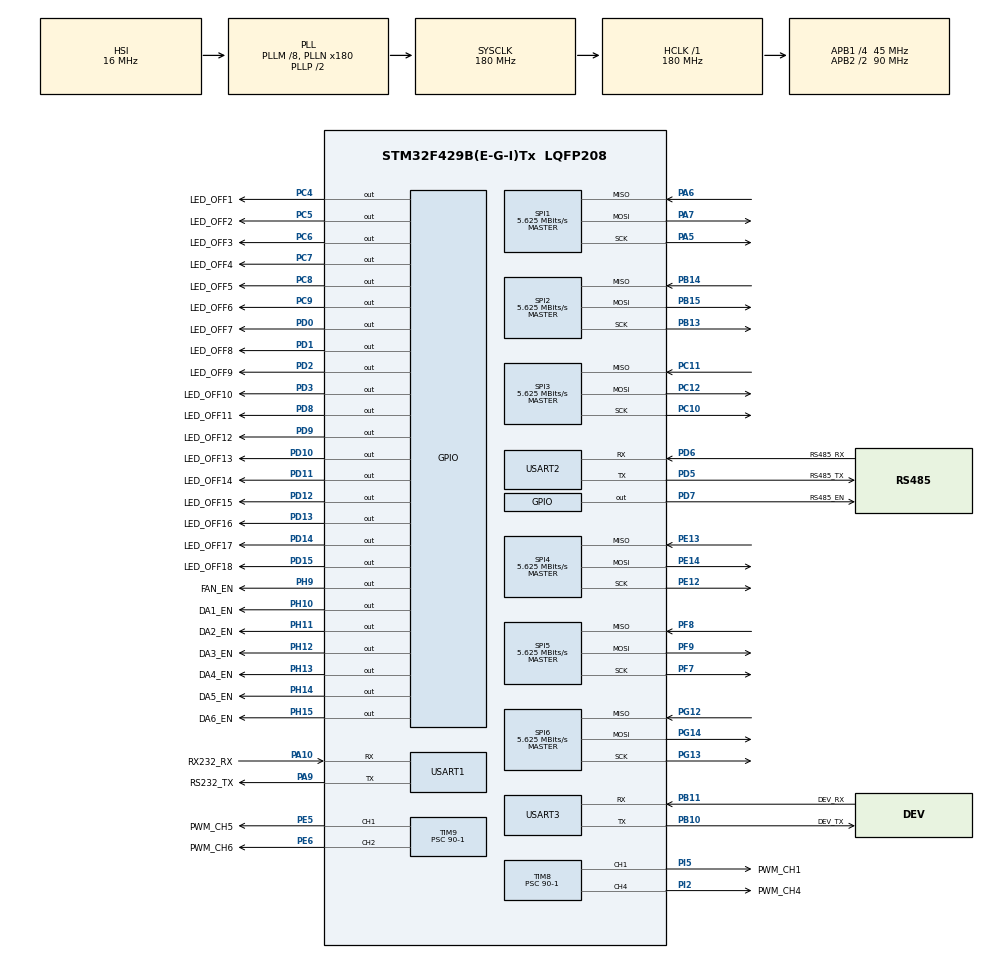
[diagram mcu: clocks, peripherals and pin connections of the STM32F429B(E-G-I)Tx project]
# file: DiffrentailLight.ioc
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Dma.Request0=USART1_RX
Dma.Request1=USART3_RX
Dma.Request2=USART2_RX
Dma.USART1_RX.0.Direction=DMA_PERIPH_TO_MEMORY
Dma.USART1_RX.0.FIFOMode=DMA_FIFOMODE_DISABLE
Dma.USART1_RX.0.Instance=DMA2_Stream2
Dma.USART1_RX.0.MemDataAlignment=DMA_MDATAALIGN_BYTE
Dma.USART1_RX.0.MemInc=DMA_MINC_ENABLE
Dma.USART1_RX.0.Mode=DMA_NORMAL
Dma.USART1_RX.0.PeriphDataAlignment=DMA_PDATAALIGN_BYTE
Dma.USART1_RX.0.PeriphInc=DMA_PINC_DISABLE
Dma.USART1_RX.0.Priority=DMA_PRIORITY_MEDIUM
Dma.USART2_RX.2.Direction=DMA_PERIPH_TO_MEMORY
Dma.USART2_RX.2.FIFOMode=DMA_FIFOMODE_DISABLE
Dma.USART2_RX.2.Instance=DMA1_Stream5
Dma.USART2_RX.2.MemDataAlignment=DMA_MDATAALIGN_BYTE
Dma.USART2_RX.2.MemInc=DMA_MINC_ENABLE
Dma.USART2_RX.2.Mode=DMA_NORMAL
Dma.USART2_RX.2.PeriphDataAlignment=DMA_PDATAALIGN_BYTE
Dma.USART2_RX.2.PeriphInc=DMA_PINC_DISABLE
Dma.USART2_RX.2.Priority=DMA_PRIORITY_LOW
Dma.USART3_RX.1.Direction=DMA_PERIPH_TO_MEMORY
Dma.USART3_RX.1.FIFOMode=DMA_FIFOMODE_DISABLE
Dma.USART3_RX.1.Instance=DMA1_Stream1
Dma.USART3_RX.1.MemDataAlignment=DMA_MDATAALIGN_BYTE
Dma.USART3_RX.1.MemInc=DMA_MINC_ENABLE
Dma.USART3_RX.1.Mode=DMA_NORMAL
Dma.USART3_RX.1.PeriphDataAlignment=DMA_PDATAALIGN_BYTE
Dma.USART3_RX.1.PeriphInc=DMA_PINC_DISABLE
Dma.USART3_RX.1.Priority=DMA_PRIORITY_MEDIUM
FREERTOS.HEAP_NUMBER=4
FREERTOS.Tasks01=defaultTask,0,512,StartDefaultTask,Default,NULL,Dynamic,NULL,NULL
FREERTOS.configUSE_NEWLIB_REENTRANT=1
FREERTOS.configUSE_PREEMPTION=1
Mcu.Family=STM32F4
Mcu.Name=STM32F429B(E-G-I)Tx
Mcu.Package=LQFP208
NVIC.DMA1_Stream1_IRQn=true\:5\:0\:false\:false\:true\:true\:false\:true
NVIC.DMA1_Stream5_IRQn=true\:5\:0\:false\:false\:true\:true\:false\:true
NVIC.DMA2_Stream2_IRQn=true\:5\:0\:true\:false\:true\:true\:false\:true
NVIC.PriorityGroup=NVIC_PRIORITYGROUP_4
NVIC.TIM1_UP_TIM10_IRQn=true\:15\:0\:false\:false\:true\:false\:false\:true
NVIC.TimeBase=TIM1_UP_TIM10_IRQn
NVIC.TimeBaseIP=TIM1
NVIC.USART1_IRQn=true\:5\:0\:true\:false\:true\:true\:true\:true
NVIC.USART2_IRQn=true\:5\:0\:false\:false\:true\:true\:true\:true
NVIC.USART3_IRQn=true\:5\:0\:false\:false\:true\:true\:true\:true
PA10.GPIO_Label=RX232_RX
PA10.GPIO_PuPd=GPIO_PULLUP
PA10.Mode=Asynchronous
PA10.Signal=USART1_RX
PA13.Mode=JTAG_5_pins
PA13.Signal=SYS_JTMS-SWDIO
PA14.Mode=JTAG_5_pins
PA14.Signal=SYS_JTCK-SWCLK
PA15.Mode=JTAG_5_pins
PA15.Signal=SYS_JTDI
PA5.Mode=Full_Duplex_Master
PA5.Signal=SPI1_SCK
PA6.Mode=Full_Duplex_Master
PA6.Signal=SPI1_MISO
PA7.Mode=Full_Duplex_Master
PA7.Signal=SPI1_MOSI
PA9.GPIO_Label=RS232_TX
PA9.GPIO_PuPd=GPIO_PULLUP
PA9.Mode=Asynchronous
PA9.Signal=USART1_TX
PB10.GPIO_Label=DEV_TX
PB10.GPIO_PuPd=GPIO_PULLUP
PB10.Mode=Asynchronous
PB10.Signal=USART3_TX
PB11.GPIO_Label=DEV_RX
PB11.GPIO_PuPd=GPIO_PULLUP
PB11.Mode=Asynchronous
PB11.Signal=USART3_RX
PB13.Mode=Full_Duplex_Master
PB13.Signal=SPI2_SCK
PB14.Mode=Full_Duplex_Master
PB14.Signal=SPI2_MISO
PB15.Mode=Full_Duplex_Master
PB15.Signal=SPI2_MOSI
PB3.Mode=JTAG_5_pins
PB3.Signal=SYS_JTDO-SWO
PB4.Mode=JTAG_5_pins
PB4.Signal=SYS_JTRST
PC10.Mode=Full_Duplex_Master
PC10.Signal=SPI3_SCK
PC11.Mode=Full_Duplex_Master
PC11.Signal=SPI3_MISO
PC12.Mode=Full_Duplex_Master
PC12.Signal=SPI3_MOSI
PC4.GPIO_Label=LED_OFF1
PC4.GPIO_PuPd=GPIO_PULLDOWN
PC4.Signal=GPIO_Output
PC5.GPIO_Label=LED_OFF2
PC5.GPIO_PuPd=GPIO_PULLDOWN
PC5.Signal=GPIO_Output
PC6.GPIO_Label=LED_OFF3
PC6.GPIO_PuPd=GPIO_PULLDOWN
PC6.Signal=GPIO_Output
PC7.GPIO_Label=LED_OFF4
PC7.GPIO_PuPd=GPIO_PULLDOWN
PC7.Signal=GPIO_Output
PC8.GPIO_Label=LED_OFF5
PC8.GPIO_PuPd=GPIO_PULLDOWN
PC8.Signal=GPIO_Output
PC9.GPIO_Label=LED_OFF6
PC9.GPIO_PuPd=GPIO_PULLDOWN
PC9.Signal=GPIO_Output
PD0.GPIO_Label=LED_OFF7
PD0.GPIO_PuPd=GPIO_PULLDOWN
PD0.Signal=GPIO_Output
PD1.GPIO_Label=LED_OFF8
PD1.GPIO_PuPd=GPIO_PULLDOWN
PD1.Signal=GPIO_Output
PD10.GPIO_Label=LED_OFF13
PD10.GPIO_PuPd=GPIO_PULLDOWN
PD10.Signal=GPIO_Output
PD11.GPIO_Label=LED_OFF14
PD11.GPIO_PuPd=GPIO_PULLDOWN
PD11.Signal=GPIO_Output
PD12.GPIO_Label=LED_OFF15
PD12.GPIO_PuPd=GPIO_PULLDOWN
PD12.Signal=GPIO_Output
PD13.GPIO_Label=LED_OFF16
PD13.GPIO_PuPd=GPIO_PULLDOWN
PD13.Signal=GPIO_Output
PD14.GPIO_Label=LED_OFF17
PD14.GPIO_PuPd=GPIO_PULLDOWN
PD14.Signal=GPIO_Output
PD15.GPIO_Label=LED_OFF18
PD15.GPIO_PuPd=GPIO_PULLDOWN
PD15.Signal=GPIO_Output
PD2.GPIO_Label=LED_OFF9
PD2.GPIO_PuPd=GPIO_PULLDOWN
PD2.Signal=GPIO_Output
PD3.GPIO_Label=LED_OFF10
PD3.GPIO_PuPd=GPIO_PULLDOWN
PD3.Signal=GPIO_Output
PD5.GPIO_Label=RS485_TX
PD5.GPIO_PuPd=GPIO_PULLUP
PD5.Mode=Asynchronous
PD5.Signal=USART2_TX
PD6.GPIO_Label=RS485_RX
PD6.GPIO_PuPd=GPIO_PULLUP
PD6.Mode=Asynchronous
PD6.Signal=USART2_RX
PD7.GPIO_Label=RS485_EN
PD7.GPIO_PuPd=GPIO_PULLDOWN
PD7.Signal=GPIO_Output
PD8.GPIO_Label=LED_OFF11
PD8.GPIO_PuPd=GPIO_PULLDOWN
PD8.Signal=GPIO_Output
PD9.GPIO_Label=LED_OFF12
PD9.GPIO_PuPd=GPIO_PULLDOWN
PD9.Signal=GPIO_Output
PE12.Mode=Full_Duplex_Master
PE12.Signal=SPI4_SCK
PE13.Mode=Full_Duplex_Master
PE13.Signal=SPI4_MISO
PE14.Mode=Full_Duplex_Master
PE14.Signal=SPI4_MOSI
PE5.GPIO_Label=PWM_CH5
PE5.GPIO_Speed=GPIO_SPEED_FREQ_VERY_HIGH
PE5.Signal=S_TIM9_CH1
PE6.GPIO_Label=PWM_CH6
PE6.GPIO_Speed=GPIO_SPEED_FREQ_VERY_HIGH
PE6.Signal=S_TIM9_CH2
PF7.Mode=Full_Duplex_Master
PF7.Signal=SPI5_SCK
PF8.Mode=Full_Duplex_Master
PF8.Signal=SPI5_MISO
PF9.Mode=Full_Duplex_Master
PF9.Signal=SPI5_MOSI
PG12.Mode=Full_Duplex_Master
PG12.Signal=SPI6_MISO
PG13.Mode=Full_Duplex_Master
PG13.Signal=SPI6_SCK
PG14.Mode=Full_Duplex_Master
PG14.Signal=SPI6_MOSI
PH10.GPIO_Label=DA1_EN
PH10.GPIO_PuPd=GPIO_PULLDOWN
PH10.Signal=GPIO_Output
PH11.GPIO_Label=DA2_EN
PH11.GPIO_PuPd=GPIO_PULLDOWN
PH11.Signal=GPIO_Output
PH12.GPIO_Label=DA3_EN
PH12.GPIO_PuPd=GPIO_PULLDOWN
PH12.Signal=GPIO_Output
PH13.GPIO_Label=DA4_EN
PH13.GPIO_PuPd=GPIO_PULLDOWN
PH13.Signal=GPIO_Output
PH14.GPIO_Label=DA5_EN
PH14.GPIO_PuPd=GPIO_PULLDOWN
PH14.Signal=GPIO_Output
PH15.GPIO_Label=DA6_EN
PH15.GPIO_PuPd=GPIO_PULLDOWN
PH15.Signal=GPIO_Output
PH9.GPIO_Label=FAN_EN
PH9.GPIO_PuPd=GPIO_PULLDOWN
PH9.Signal=GPIO_Output
PI2.GPIO_Label=PWM_CH4
PI2.GPIO_Speed=GPIO_SPEED_FREQ_VERY_HIGH
PI2.Signal=S_TIM8_CH4
PI5.GPIO_Label=PWM_CH1
PI5.GPIO_Speed=GPIO_SPEED_FREQ_VERY_HIGH
PI5.Signal=S_TIM8_CH1
ProjectManager.HeapSize=0x4000
ProjectManager.StackSize=0x4000
ProjectManager.TargetToolchain=STM32CubeIDE
RCC.48MHZClocksFreq_Value=90000000
RCC.AHBFreq_Value=180000000
RCC.APB1CLKDivider=RCC_HCLK_DIV4
RCC.APB1Freq_Value=45000000
RCC.APB1TimFreq_Value=90000000
RCC.APB2CLKDivider=RCC_HCLK_DIV2
RCC.APB2Freq_Value=90000000
RCC.APB2TimFreq_Value=180000000
RCC.CortexFreq_Value=180000000
RCC.HCLKFreq_Value=180000000
RCC.HSE_VALUE=25000000
RCC.HSI_VALUE=16000000
RCC.LSE_VALUE=32768
RCC.PLLM=8
RCC.PLLN=180
RCC.SYSCLKFreq_VALUE=180000000
RCC.SYSCLKSource=RCC_SYSCLKSOURCE_PLLCLK
RCC.VCOOutputFreq_Value=360000000
SH.S_TIM8_CH1.0=TIM8_CH1,PWM Generation1 CH1
SH.S_TIM8_CH4.0=TIM8_CH4,PWM Generation4 CH4
SH.S_TIM9_CH1.0=TIM9_CH1,PWM Generation1 CH1
SH.S_TIM9_CH2.0=TIM9_CH2,PWM Generation2 CH2
SPI1.BaudRatePrescaler=SPI_BAUDRATEPRESCALER_16
SPI1.CalculateBaudRate=5.625 MBits/s
SPI1.DataSize=SPI_DATASIZE_8BIT
SPI1.Direction=SPI_DIRECTION_2LINES
SPI1.FirstBit=SPI_FIRSTBIT_MSB
SPI1.Mode=SPI_MODE_MASTER
SPI1.VirtualType=VM_MASTER
SPI2.BaudRatePrescaler=SPI_BAUDRATEPRESCALER_8
SPI2.CalculateBaudRate=5.625 MBits/s
SPI2.Direction=SPI_DIRECTION_2LINES
SPI2.Mode=SPI_MODE_MASTER
SPI2.VirtualType=VM_MASTER
SPI3.BaudRatePrescaler=SPI_BAUDRATEPRESCALER_8
SPI3.CalculateBaudRate=5.625 MBits/s
SPI3.Direction=SPI_DIRECTION_2LINES
SPI3.Mode=SPI_MODE_MASTER
SPI3.VirtualType=VM_MASTER
SPI4.BaudRatePrescaler=SPI_BAUDRATEPRESCALER_16
SPI4.CalculateBaudRate=5.625 MBits/s
SPI4.Direction=SPI_DIRECTION_2LINES
SPI4.Mode=SPI_MODE_MASTER
SPI4.VirtualType=VM_MASTER
SPI5.BaudRatePrescaler=SPI_BAUDRATEPRESCALER_16
SPI5.CalculateBaudRate=5.625 MBits/s
SPI5.Direction=SPI_DIRECTION_2LINES
SPI5.Mode=SPI_MODE_MASTER
SPI5.VirtualType=VM_MASTER
SPI6.BaudRatePrescaler=SPI_BAUDRATEPRESCALER_16
SPI6.CalculateBaudRate=5.625 MBits/s
SPI6.Direction=SPI_DIRECTION_2LINES
SPI6.Mode=SPI_MODE_MASTER
SPI6.VirtualType=VM_MASTER
TIM8.Channel-PWM\ Generation1\ CH1=TIM_CHANNEL_1
TIM8.Channel-PWM\ Generation4\ CH4=TIM_CHANNEL_4
TIM8.Period=4000-1
TIM8.Prescaler=90-1
TIM8.Pulse-PWM\ Generation1\ CH1=0
TIM9.Channel-PWM\ Generation1\ CH1=TIM_CHANNEL_1
TIM9.Channel-PWM\ Generation2\ CH2=TIM_CHANNEL_2
TIM9.Period=1000-1
TIM9.Prescaler=90-1
TIM9.Pulse-PWM\ Generation1\ CH1=0
USART1.VirtualMode=VM_ASYNC
USART2.VirtualMode=VM_ASYNC
USART3.VirtualMode=VM_ASYNC
VP_FREERTOS_VS_CMSIS_V1.Mode=CMSIS_V1
VP_RTC_VS_RTC_Activate.Mode=RTC_Enabled
VP_SYS_VS_tim1.Mode=TIM1
board=custom

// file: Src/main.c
/* USER CODE BEGIN Header */
/**
  ******************************************************************************
  * @file           : main.c
  * @brief          : Main program body
  ******************************************************************************
  * @attention
  *
  * Copyright (c) 2022 STMicroelectronics.
  * All rights reserved.
  *
  * This software is licensed under terms that can be found in the LICENSE file
  * in the root directory of this software component.
  * If no LICENSE file comes with this software, it is provided AS-IS.
  *
  ******************************************************************************
  */
/* USER CODE END Header */
#include "main.h"
#include "cmsis_os.h"
#include "dma.h"
#include "rtc.h"
#include "spi.h"
#include "tim.h"
#include "usart.h"
#include "gpio.h"

void SystemClock_Config(void);
void MX_FREERTOS_Init(void);

int main(void)
{

  /* MCU Configuration--------------------------------------------------------*/

  /* Reset of all peripherals, Initializes the Flash interface and the Systick. */
  HAL_Init();

  /* Configure the system clock */
  SystemClock_Config();

  /* Initialize all configured peripherals */
  MX_GPIO_Init();
  MX_DMA_Init();
  MX_RTC_Init();
  MX_TIM8_Init();
  MX_SPI1_Init();
  MX_USART1_UART_Init();
  MX_USART3_UART_Init();
  MX_TIM9_Init();
  MX_SPI2_Init();
  MX_SPI3_Init();
  MX_SPI4_Init();
  MX_SPI5_Init();
  MX_SPI6_Init();
  MX_USART2_UART_Init();

  /* Call init function for freertos objects (in freertos.c) */
  MX_FREERTOS_Init();
  /* Start scheduler */
  osKernelStart();

  /* We should never get here as control is now taken by the scheduler */
  /* Infinite loop */
  while (1)
  {

  }
}

void SystemClock_Config(void)
{
  RCC_OscInitTypeDef RCC_OscInitStruct = {0};
  RCC_ClkInitTypeDef RCC_ClkInitStruct = {0};

  /** Configure the main internal regulator output voltage
  */
  __HAL_RCC_PWR_CLK_ENABLE();
  __HAL_PWR_VOLTAGESCALING_CONFIG(PWR_REGULATOR_VOLTAGE_SCALE1);
  /** Initializes the RCC Oscillators according to the specified parameters
  * in the RCC_OscInitTypeDef structure.
  */
  RCC_OscInitStruct.OscillatorType = RCC_OSCILLATORTYPE_HSI|RCC_OSCILLATORTYPE_LSI;
  RCC_OscInitStruct.HSIState = RCC_HSI_ON;
  RCC_OscInitStruct.HSICalibrationValue = RCC_HSICALIBRATION_DEFAULT;
  RCC_OscInitStruct.LSIState = RCC_LSI_ON;
  RCC_OscInitStruct.PLL.PLLState = RCC_PLL_ON;
  RCC_OscInitStruct.PLL.PLLSource = RCC_PLLSOURCE_HSI;
  RCC_OscInitStruct.PLL.PLLM = 8;
  RCC_OscInitStruct.PLL.PLLN = 180;
  RCC_OscInitStruct.PLL.PLLP = RCC_PLLP_DIV2;
  RCC_OscInitStruct.PLL.PLLQ = 4;
  if (HAL_RCC_OscConfig(&RCC_OscInitStruct) != HAL_OK)
  {
    Error_Handler();
  }
  /** Activate the Over-Drive mode
  */
  if (HAL_PWREx_EnableOverDrive() != HAL_OK)
  {
    Error_Handler();
  }
  /** Initializes the CPU, AHB and APB buses clocks
  */
  RCC_ClkInitStruct.ClockType = RCC_CLOCKTYPE_HCLK|RCC_CLOCKTYPE_SYSCLK
                              |RCC_CLOCKTYPE_PCLK1|RCC_CLOCKTYPE_PCLK2;
  RCC_ClkInitStruct.SYSCLKSource = RCC_SYSCLKSOURCE_PLLCLK;
  RCC_ClkInitStruct.AHBCLKDivider = RCC_SYSCLK_DIV1;
  RCC_ClkInitStruct.APB1CLKDivider = RCC_HCLK_DIV4;
  RCC_ClkInitStruct.APB2CLKDivider = RCC_HCLK_DIV2;

  if (HAL_RCC_ClockConfig(&RCC_ClkInitStruct, FLASH_LATENCY_5) != HAL_OK)
  {
    Error_Handler();
  }
}

void HAL_TIM_PeriodElapsedCallback(TIM_HandleTypeDef *htim)
{
  if (htim->Instance == TIM1) {
    HAL_IncTick();
  }
}

void Error_Handler(void)
{
  __disable_irq();
  while (1)
  {
  }
}

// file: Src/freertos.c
/* USER CODE BEGIN Header */
/**
  ******************************************************************************
  * File Name          : freertos.c
  * Description        : Code for freertos applications
  ******************************************************************************
  * @attention
  *
  * Copyright (c) 2022 STMicroelectronics.
  * All rights reserved.
  *
  * This software is licensed under terms that can be found in the LICENSE file
  * in the root directory of this software component.
  * If no LICENSE file comes with this software, it is provided AS-IS.
  *
  ******************************************************************************
  */
/* USER CODE END Header */

#include "FreeRTOS.h"
#include "task.h"
#include "main.h"
#include "cmsis_os.h"

/* USER CODE BEGIN Includes */
#include "stdio.h"
#include "string.h"
#include "gpio.h"
#include "spi.h"
#include "usart.h"
#include "log.h"
#include "command.h"
#include "pwm.h"
#include "dac.h"
/* USER CODE END Includes */

/* USER CODE BEGIN Variables */
extern TIM_HandleTypeDef htim8;
/* USER CODE END Variables */
osThreadId defaultTaskHandle;

void StartDefaultTask(void const * argument);

void MX_FREERTOS_Init(void); /* (MISRA C 2004 rule 8.1) */

/* GetIdleTaskMemory prototype (linked to static allocation support) */
void vApplicationGetIdleTaskMemory( StaticTask_t **ppxIdleTaskTCBBuffer, StackType_t **ppxIdleTaskStackBuffer, uint32_t *pulIdleTaskStackSize );

/* USER CODE BEGIN GET_IDLE_TASK_MEMORY */
static StaticTask_t xIdleTaskTCBBuffer;
static StackType_t xIdleStack[configMINIMAL_STACK_SIZE];

void vApplicationGetIdleTaskMemory( StaticTask_t **ppxIdleTaskTCBBuffer, StackType_t **ppxIdleTaskStackBuffer, uint32_t *pulIdleTaskStackSize )
{
  *ppxIdleTaskTCBBuffer = &xIdleTaskTCBBuffer;
  *ppxIdleTaskStackBuffer = &xIdleStack[0];
  *pulIdleTaskStackSize = configMINIMAL_STACK_SIZE;
  /* place for user code */
}
/* USER CODE END GET_IDLE_TASK_MEMORY */

void MX_FREERTOS_Init(void) {

  /* Create the thread(s) */
  /* definition and creation of defaultTask */
  osThreadDef(defaultTask, StartDefaultTask, osPriorityNormal, 0, 512);
  defaultTaskHandle = osThreadCreate(osThread(defaultTask), NULL);

  /* USER CODE BEGIN RTOS_THREADS */
  LOG_Init();
  PWM_Init();
  CMD_Init();
  DAC_BU2505FV_Init();
  /* USER CODE END RTOS_THREADS */

}

void StartDefaultTask(void const * argument)
{
  /* USER CODE BEGIN StartDefaultTask */
  /* Infinite loop */

  PWM_SetDuty(1, 1000);
  PWM_SetDuty(4, 1000);
  PWM_SetDuty(5, 1000);
  PWM_SetDuty(6, 1000);

  for ( ; ; ) {

    osDelay(2000);

  }
  /* USER CODE END StartDefaultTask */
}
